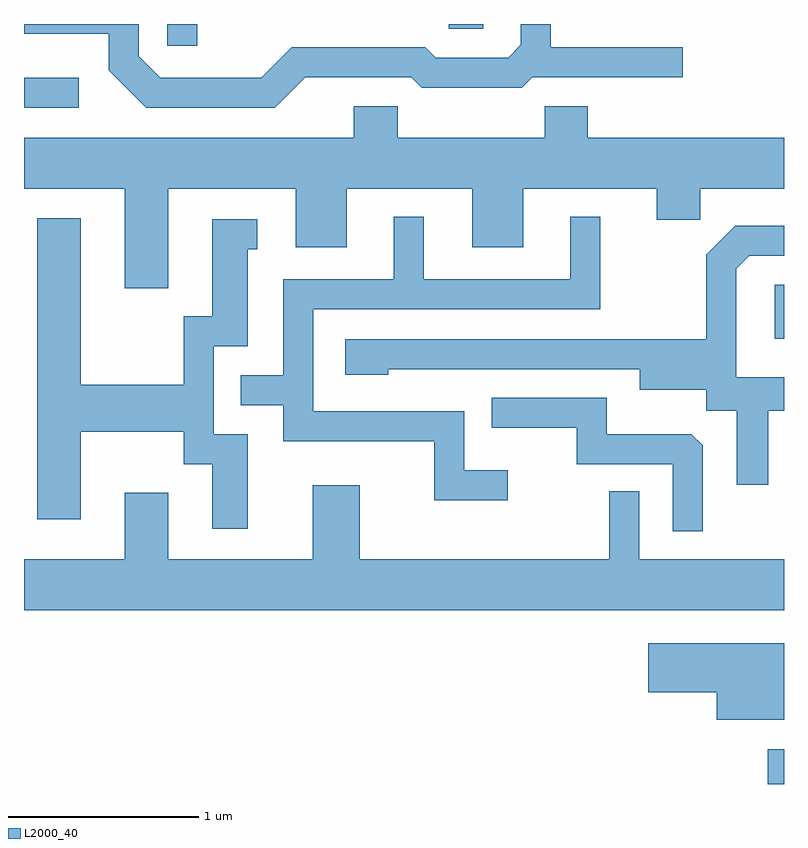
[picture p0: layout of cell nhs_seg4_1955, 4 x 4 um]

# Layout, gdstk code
import gdstk
lib = gdstk.Library(unit=1e-6, precision=1e-09)
def R(c, l, rs):  # rectangles x0, y0, x1, y1
    for r in rs: c.add(gdstk.rectangle(r[:2], r[2:], *l))
def P(c, l, *ps):  # polygons
    for p in ps: c.add(gdstk.Polygon(p, *l))
L2000_40 = (2000, 40)

nhs_seg4_1955 = lib.new_cell('nhs_seg4_1955')
R(nhs_seg4_1955, L2000_40, [(245.526,1355.982,245.611,1356.164), (245.561,1358.326,245.611,1358.609), (241.611,1359.541,241.898,1359.699), (242.366,1359.868,242.524,1359.982), (243.846,1359.956,244.029,1359.982)])
P(nhs_seg4_1955, L2000_40, [(243.092,1359.701),(243.649,1359.701),(243.704,1359.646),(244.232,1359.646),(244.287,1359.701),(245.078,1359.701),(245.078,1359.859),(244.384,1359.859),(244.384,1359.982),(244.226,1359.982),(244.226,1359.872),(244.159,1359.804),(243.777,1359.804),(243.722,1359.859),(243.019,1359.859),(242.859,1359.699),(242.327,1359.699),(242.214,1359.812),(242.214,1359.982),(241.611,1359.982),(241.611,1359.931),(242.056,1359.931),(242.056,1359.739),(242.254,1359.541),(242.932,1359.541)],
  [(242.369,1359.116),(243.041,1359.116),(243.041,1358.806),(243.309,1358.806),(243.309,1359.116),(243.971,1359.116),(243.971,1358.806),(244.239,1358.806),(244.239,1359.116),(244.941,1359.116),(244.941,1358.951),(245.169,1358.951),(245.169,1359.116),(245.611,1359.116),(245.611,1359.384),(244.579,1359.384),(244.579,1359.549),(244.351,1359.549),(244.351,1359.384),(243.579,1359.384),(243.579,1359.549),(243.346,1359.549),(243.346,1359.384),(241.611,1359.384),(241.611,1359.116),(242.141,1359.116),(242.141,1358.591),(242.369,1358.591)],
  [(244.158,1357.634),(243.929,1357.634),(243.929,1357.944),(243.134,1357.944),(243.134,1358.481),(244.644,1358.481),(244.644,1358.968),(244.486,1358.968),(244.486,1358.639),(243.714,1358.639),(243.714,1358.968),(243.556,1358.968),(243.556,1358.639),(242.976,1358.639),(242.976,1358.134),(242.753,1358.134),(242.753,1357.976),(242.976,1357.976),(242.976,1357.786),(243.771,1357.786),(243.771,1357.476),(244.158,1357.476)],
  [(242.789,1357.824),(242.609,1357.824),(242.609,1358.286),(242.789,1358.286),(242.789,1358.796),(242.838,1358.796),(242.838,1358.954),(242.601,1358.954),(242.601,1358.444),(242.451,1358.444),(242.451,1358.084),(241.909,1358.084),(241.909,1358.959),(241.681,1358.959),(241.681,1357.376),(241.909,1357.376),(241.909,1357.836),(242.451,1357.836),(242.451,1357.666),(242.601,1357.666),(242.601,1357.326),(242.789,1357.326)],
  [(245.529,1357.946),(245.611,1357.946),(245.611,1358.124),(245.359,1358.124),(245.359,1358.694),(245.427,1358.761),(245.611,1358.761),(245.611,1358.919),(245.354,1358.919),(245.201,1358.767),(245.201,1358.324),(243.301,1358.324),(243.301,1358.136),(243.529,1358.136),(243.529,1358.166),(244.851,1358.166),(244.851,1358.056),(245.201,1358.056),(245.201,1357.946),(245.361,1357.946),(245.361,1357.558),(245.529,1357.558)],
  [(245.184,1357.764),(245.124,1357.824),(244.679,1357.824),(244.679,1358.014),(244.073,1358.014),(244.073,1357.856),(244.521,1357.856),(244.521,1357.666),(245.026,1357.666),(245.026,1357.313),(245.184,1357.313)],
  [(245.611,1357.164),(244.849,1357.164),(244.849,1357.523),(244.691,1357.523),(244.691,1357.164),(243.379,1357.164),(243.379,1357.554),(243.131,1357.554),(243.131,1357.164),(242.369,1357.164),(242.369,1357.514),(242.141,1357.514),(242.141,1357.164),(241.611,1357.164),(241.611,1356.896),(245.611,1356.896)],
  [(245.611,1356.724),(244.896,1356.724),(244.896,1356.466),(245.256,1356.466),(245.256,1356.321),(245.611,1356.321)])

lib.write_gds('nhs_seg4_1955.gds')
